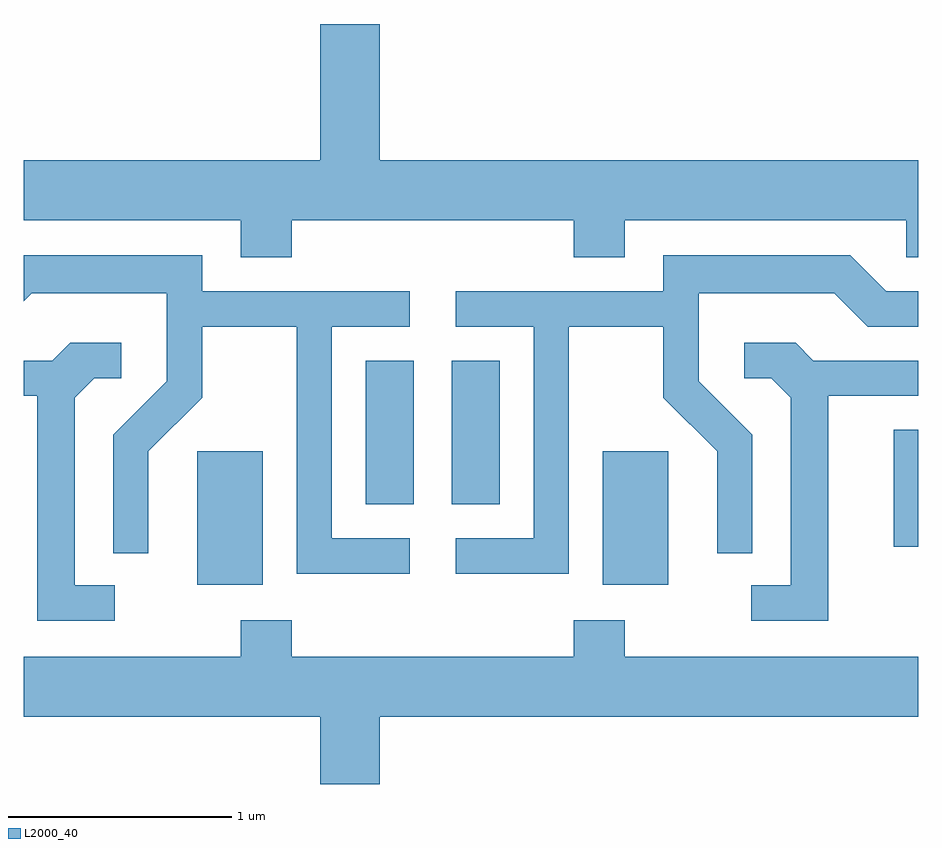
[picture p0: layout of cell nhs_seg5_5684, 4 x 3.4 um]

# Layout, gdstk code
import gdstk
lib = gdstk.Library(unit=1e-6, precision=1e-09)
def R(c, l, rs):  # rectangles x0, y0, x1, y1
    for r in rs: c.add(gdstk.rectangle(r[:2], r[2:], *l))
def P(c, l, *ps):  # polygons
    for p in ps: c.add(gdstk.Polygon(p, *l))
L2000_40 = (2000, 40)

nhs_seg5_5684 = lib.new_cell('nhs_seg5_5684')
R(nhs_seg5_5684, L2000_40, [(354.386,1455.166,354.679,1455.764), (356.201,1455.166,356.494,1455.764), (357.501,1455.336,357.611,1455.859), (355.141,1455.526,355.354,1456.169), (355.526,1455.526,355.739,1456.169)])
P(nhs_seg5_5684, L2000_40, [(354.809,1456.796),(356.071,1456.796),(356.071,1456.631),(356.299,1456.631),(356.299,1456.796),(357.556,1456.796),(357.556,1456.631),(357.611,1456.631),(357.611,1457.064),(355.204,1457.064),(355.204,1457.674),(354.936,1457.674),(354.936,1457.064),(353.611,1457.064),(353.611,1456.796),(354.581,1456.796),(354.581,1456.631),(354.809,1456.631)],
  [(356.049,1456.321),(356.471,1456.321),(356.471,1456.004),(356.711,1455.764),(356.711,1455.308),(356.869,1455.308),(356.869,1455.837),(356.629,1456.077),(356.629,1456.471),(357.234,1456.471),(357.384,1456.321),(357.611,1456.321),(357.611,1456.479),(357.467,1456.479),(357.307,1456.639),(356.471,1456.639),(356.471,1456.479),(355.543,1456.479),(355.543,1456.321),(355.891,1456.321),(355.891,1455.374),(355.543,1455.374),(355.543,1455.216),(356.049,1455.216)],
  [(355.338,1455.374),(354.989,1455.374),(354.989,1456.321),(355.338,1456.321),(355.338,1456.479),(354.409,1456.479),(354.409,1456.639),(353.611,1456.639),(353.611,1456.435),(353.647,1456.471),(354.251,1456.471),(354.251,1456.077),(354.011,1455.837),(354.011,1455.308),(354.169,1455.308),(354.169,1455.764),(354.409,1456.004),(354.409,1456.321),(354.831,1456.321),(354.831,1455.216),(355.338,1455.216)],
  [(357.209,1456.011),(357.611,1456.011),(357.611,1456.169),(357.142,1456.169),(357.062,1456.249),(356.833,1456.249),(356.833,1456.091),(356.954,1456.091),(357.041,1456.004),(357.041,1455.164),(356.863,1455.164),(356.863,1455.006),(357.209,1455.006)],
  [(354.018,1455.164),(353.839,1455.164),(353.839,1456.004),(353.927,1456.091),(354.048,1456.091),(354.048,1456.249),(353.819,1456.249),(353.739,1456.169),(353.611,1456.169),(353.611,1456.011),(353.671,1456.011),(353.671,1455.006),(354.018,1455.006)],
  [(354.581,1455.009),(354.581,1454.844),(353.611,1454.844),(353.611,1454.576),(354.936,1454.576),(354.936,1454.276),(355.204,1454.276),(355.204,1454.576),(357.611,1454.576),(357.611,1454.844),(356.299,1454.844),(356.299,1455.009),(356.071,1455.009),(356.071,1454.844),(354.809,1454.844),(354.809,1455.009)])

lib.write_gds('nhs_seg5_5684.gds')
